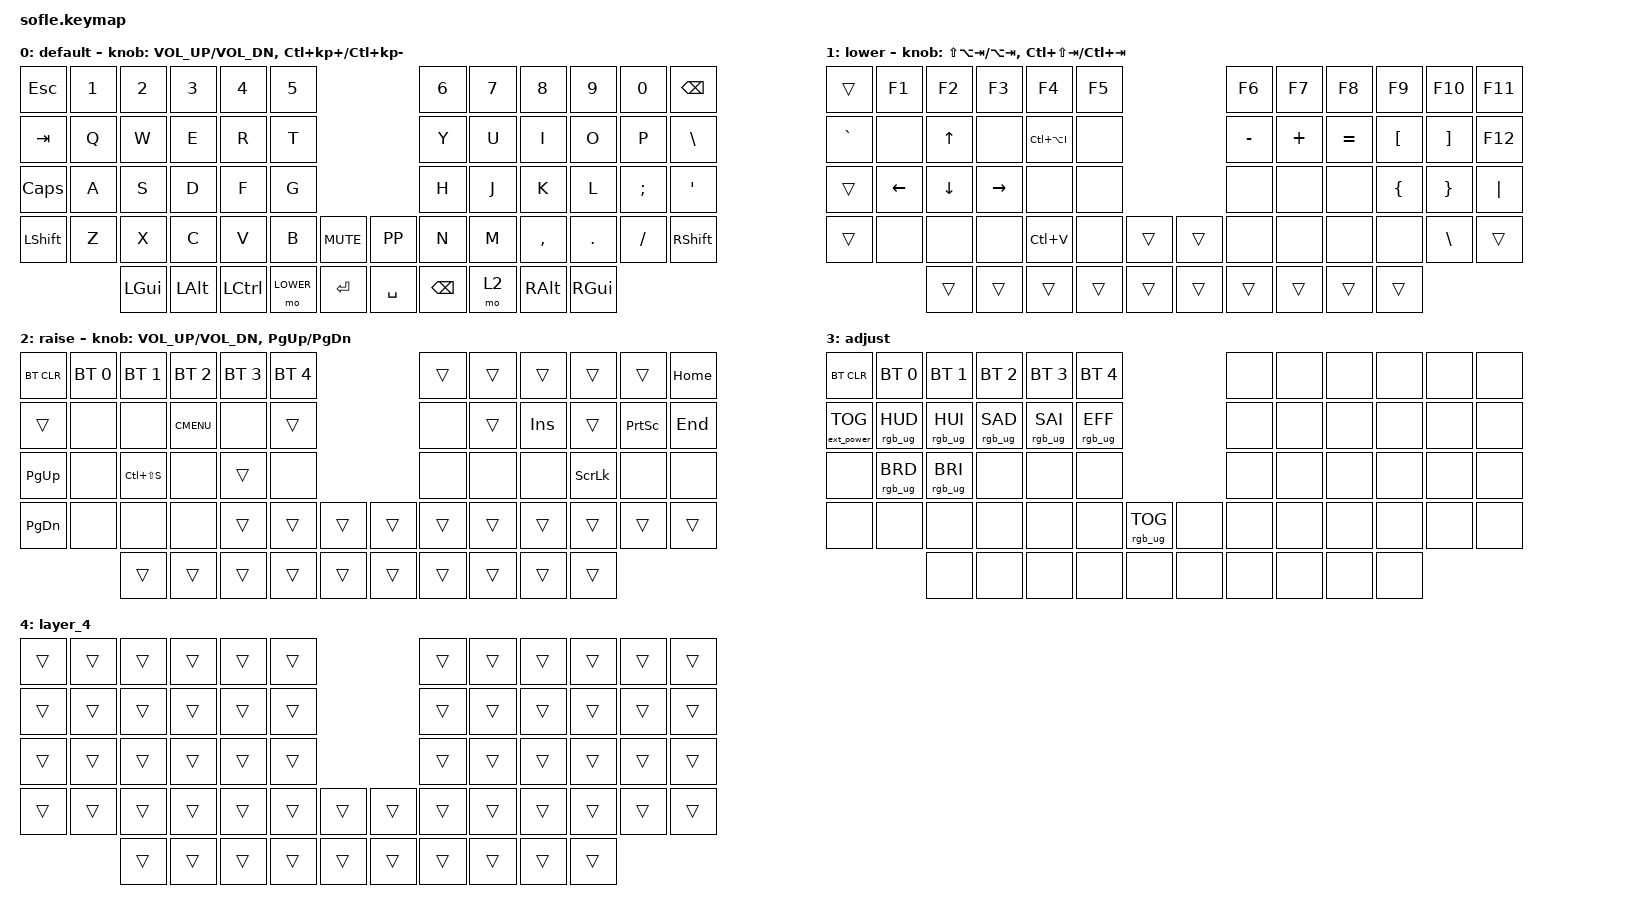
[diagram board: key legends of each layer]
/*
 * Copyright (c) 2020 The ZMK Contributors
 *
 * SPDX-License-Identifier: MIT
 */

#include <behaviors.dtsi>
#include <dt-bindings/zmk/bt.h>
#include <dt-bindings/zmk/ext_power.h>
#include <dt-bindings/zmk/keys.h>
#include <dt-bindings/zmk/rgb.h>

#define BASE 0
#define LOWER 1
#define RAISE 2
#define ADJUST 3

/ {
    // Activate ADJUST layer by pressing raise and lower

    conditional_layers {
        compatible = "zmk,conditional-layers";

        adjust_layer {
            if-layers = <LOWER RAISE>;
            then-layer = <ADJUST>;
        };
    };

    keymap {
        compatible = "zmk,keymap";

        default_layer {
            label = "default";

            // ------------------------------------------------------------------------------------------------------------
            // |   `   |  1  |  2  |  3   |  4   |  5   |                   |  6   |  7    |  8    |  9   |   0   |       |
            // |  ESC  |  Q  |  W  |  E   |  R   |  T   |                   |  Y   |  U    |  I    |  O   |   P   | BKSPC |
            // |  TAB  |  A  |  S  |  D   |  F   |  G   |                   |  H   |  J    |  K    |  L   |   ;   |   '   |
            // | SHIFT |  Z  |  X  |  C   |  V   |  B   |  MUTE  |  |       |  N   |  M    |  ,    |  .   |   /   | SHIFT |
            //               | GUI | ALT  | CTRL | LOWER|  ENTER |  | SPACE | RAISE| CTRL  | ALT   | GUI  |

            bindings = <
&kp ESC    &kp N1  &kp N2    &kp N3    &kp N4     &kp N5                              &kp N6         &kp N7  &kp N8     &kp N9    &kp N0    &kp BACKSPACE
&kp TAB    &kp Q   &kp W     &kp E     &kp R      &kp T                               &kp Y          &kp U   &kp I      &kp O     &kp P     &kp BACKSLASH
&kp CLCK   &kp A   &kp S     &kp D     &kp F      &kp G                               &kp H          &kp J   &kp K      &kp L     &kp SEMI  &kp SQT
&kp LSHFT  &kp Z   &kp X     &kp C     &kp V      &kp B      &kp C_MUTE    &kp K_PP   &kp N          &kp M   &kp COMMA  &kp DOT   &kp FSLH  &kp RSHFT
                   &kp LGUI  &kp LALT  &kp LCTRL  &mo LOWER  &kp RET       &kp SPACE  &kp BACKSPACE  &mo 2   &kp RALT   &kp RGUI
            >;

            sensor-bindings =
                <&inc_dec_kp C_VOL_UP C_VOL_DN>,
                <&inc_dec_kp LC(KP_PLUS) LC(KP_SUBTRACT)>;
        };

        lower_layer {
            label = "lower";

            // TODO: Some binds are waiting for shifted keycode support.
            // ------------------------------------------------------------------------------------------------------------
            // |       |  F1 |  F2 |  F3  |  F4  |  F5  |                   |  F6  |  F7   |  F8   |  F9  |  F10  |  F11  |
            // |   `   |  1  |  2  |  3   |  4   |  5   |                   |  6   |  7    |  8    |  9   |   0   |  F12  |
            // |       |  !  |  @  |  #   |  $   |  %   |                   |  ^   |  &    |  *    |  (   |   )   |   |   |
            // |       |  =  |  -  |  +   |  {   |  }   |        |  |       |  [   |  ]    |  ;    |  :   |   \   |       |
            //               |     |      |      |      |        |  |       |      |       |       |      |

            bindings = <
&trans     &kp F1          &kp F2        &kp F3     &kp F4         &kp F5                    &kp F6     &kp F7    &kp F8     &kp F9            &kp F10            &kp F11
&kp GRAVE  &none           &kp UP_ARROW  &none      &kp LC(LA(I))  &none                     &kp MINUS  &kp PLUS  &kp EQUAL  &kp LEFT_BRACKET  &kp RIGHT_BRACKET  &kp F12
&trans     &kp LEFT_ARROW  &kp DOWN      &kp RIGHT  &none          &none                     &none      &none     &none      &kp LEFT_BRACE    &kp RIGHT_BRACE    &kp PIPE
&trans     &none           &none         &none      &kp LC(V)      &none   &trans    &trans  &none      &none     &none      &none             &kp BSLH           &trans
                           &trans        &trans     &trans         &trans  &trans    &trans  &trans     &trans    &trans     &trans
            >;

            sensor-bindings =
                <&inc_dec_kp LS(LA(TAB)) LA(TAB)>,
                <&inc_dec_kp LC(LS(TAB)) LC(TAB)>;
        };

        raise_layer {
            label = "raise";

            // ------------------------------------------------------------------------------------------------------------
            // | BTCLR | BT1  | BT2  |  BT3  |  BT4  |  BT5 |                |      |      |       |      |       |       |
            // |       | INS  | PSCR | GUI   |       |      |                | PGUP |      |   ^   |      |       |       |
            // |       | ALT  | CTRL | SHIFT |       | CAPS |                | PGDN |   <- |   v   |  ->  |  DEL  | BKSPC |
            // |       | UNDO | CUT  | COPY  | PASTE |      |      |  |      |      |      |       |      |       |       |
            //                |      |       |       |      |      |  |      |      |      |       |      |

            bindings = <
&bt BT_CLR     &bt BT_SEL 0  &bt BT_SEL 1   &bt BT_SEL 2  &bt BT_SEL 3  &bt BT_SEL 4                    &trans  &trans  &trans   &trans          &trans           &kp HOME
&trans         &none         &none          &kp K_CMENU   &none         &trans                          &none   &trans  &kp INS  &trans          &kp PRINTSCREEN  &kp END
&kp PAGE_UP    &none         &kp LC(LS(S))  &none         &trans        &none                           &none   &none   &none    &kp SCROLLLOCK  &none            &none
&kp PAGE_DOWN  &none         &none          &none         &trans        &trans        &trans    &trans  &trans  &trans  &trans   &trans          &trans           &trans
                             &trans         &trans        &trans        &trans        &trans    &trans  &trans  &trans  &trans   &trans
            >;

            sensor-bindings = <&inc_dec_kp C_VOL_UP C_VOL_DN &inc_dec_kp PG_UP PG_DN>;
        };

        adjust_layer {
            // ----------------------------------------------------------------------------------------------------------------------------
            // | BTCLR  |  BT1    |  BT2    |   BT3   |   BT4   |   BT5   |                  |      |      |       |      |       |       |
            // | EXTPWR | RGB_HUD | RGB_HUI | RGB_SAD | RGB_SAI | RGB_EFF |                  |      |      |       |      |       |       |
            // |        | RGB_BRD | RGB_BRI |         |         |         |                  |      |      |       |      |       |       |
            // |        |         |         |         |         |         | RGB_TOG | |      |      |      |       |      |       |       |
            //                    |         |         |         |         |         | |      |      |      |       |      |

            label = "adjust";
            bindings = <
&bt BT_CLR         &bt BT_SEL 0     &bt BT_SEL 1     &bt BT_SEL 2     &bt BT_SEL 3     &bt BT_SEL 4                               &none  &none  &none  &none  &none  &none
&ext_power EP_TOG  &rgb_ug RGB_HUD  &rgb_ug RGB_HUI  &rgb_ug RGB_SAD  &rgb_ug RGB_SAI  &rgb_ug RGB_EFF                            &none  &none  &none  &none  &none  &none
&none              &rgb_ug RGB_BRD  &rgb_ug RGB_BRI  &none            &none            &none                                      &none  &none  &none  &none  &none  &none
&none              &none            &none            &none            &none            &none            &rgb_ug RGB_TOG    &none  &none  &none  &none  &none  &none  &none
                                    &none            &none            &none            &none            &none              &none  &none  &none  &none  &none
            >;
        };

        layer_4 {
            bindings = <
&trans  &trans  &trans  &trans  &trans  &trans                    &trans  &trans  &trans  &trans  &trans  &trans
&trans  &trans  &trans  &trans  &trans  &trans                    &trans  &trans  &trans  &trans  &trans  &trans
&trans  &trans  &trans  &trans  &trans  &trans                    &trans  &trans  &trans  &trans  &trans  &trans
&trans  &trans  &trans  &trans  &trans  &trans  &trans    &trans  &trans  &trans  &trans  &trans  &trans  &trans
                &trans  &trans  &trans  &trans  &trans    &trans  &trans  &trans  &trans  &trans
            >;
        };
    };
};
